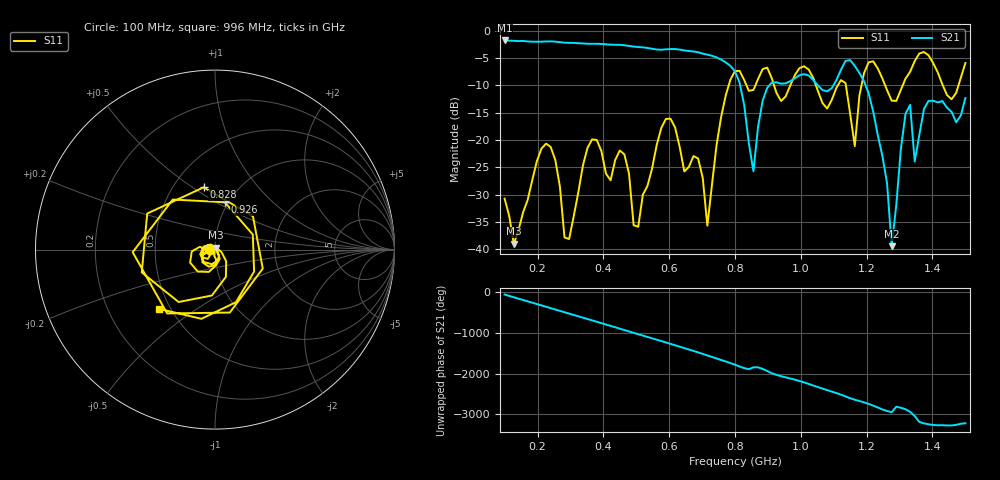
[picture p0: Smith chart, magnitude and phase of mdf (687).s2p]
! NanoVNA-App
! Date: 2025-09-25 15:43:46
! Start: 100MHz Stop: 1,5GHz Points: 101
! S-Parameter data: F S11 S21 S12 S22
# Hz S RI R 50
!  Frequency  S11_Real  S11_Imag  S21_Real  S21_Imag  S12_Real  S12_Imag  S22_Real  S22_Imag
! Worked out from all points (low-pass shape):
!   101 points, 100 MHz to 1.5 GHz, reference 50 ohm
!   highest |S21| = -1.80 dB at 100 MHz (marker M1); lowest = -39.4 dB at 1.276 GHz (marker M2)
!   |S21| within 3 dB of the highest: start of sweep to 739.2 MHz
!   lowest |S11| = -39.0 dB at 128 MHz (marker M3), VSWR 1.02, Z = 50.3 + j1.07 ohm
!   |S11| at or under -10 dB: start of sweep to 781 MHz; 918.6 MHz to 968.2 MHz (49.56 MHz wide, 5.25 % of centre); 1.046 GHz to 1.113 GHz (66.94 MHz wide, 6.2 % of centre) (the widest 3 of 7)
!   S12 and S22 are empty: the file has one direction only
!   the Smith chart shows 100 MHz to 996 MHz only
!   S11 on the Smith chart (normalised r, x): 100 MHz: 0.94, -0.01; 828 MHz: 0.70, +0.55; 926 MHz: 0.96, +0.55; 996 MHz: 0.43, -0.36
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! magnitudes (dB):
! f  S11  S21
! 100 MHz  -30.7  -1.8
! 128 MHz  -39.0  -1.9
! 212 MHz  -21.6  -2.0
! 282 MHz  -37.8  -2.2
! 338 MHz  -24.6  -2.3
! 464 MHz  -22.7  -2.7
! 506 MHz  -35.9  -3.0
! 576 MHz  -17.8  -3.5
! 716 MHz  -35.7  -4.4
! 800 MHz  -7.4  -7.4
! 828 MHz  -9.1  -13.6
! 856 MHz  -10.9  -25.7
! 926 MHz  -11.4  -9.5
! 996 MHz  -6.9  -8.2
! 1.038 GHz  -8.7  -9.1
! 1.136 GHz  -9.6  -5.5
! 1.164 GHz  -21.1  -6.5
! 1.192 GHz  -7.8  -9.3
! 1.276 GHz  -12.8  -39.4
! 1.318 GHz  -8.8  -15.2
! 1.346 GHz  -5.6  -24.0
! 1.5 GHz  -5.9  -12.3
